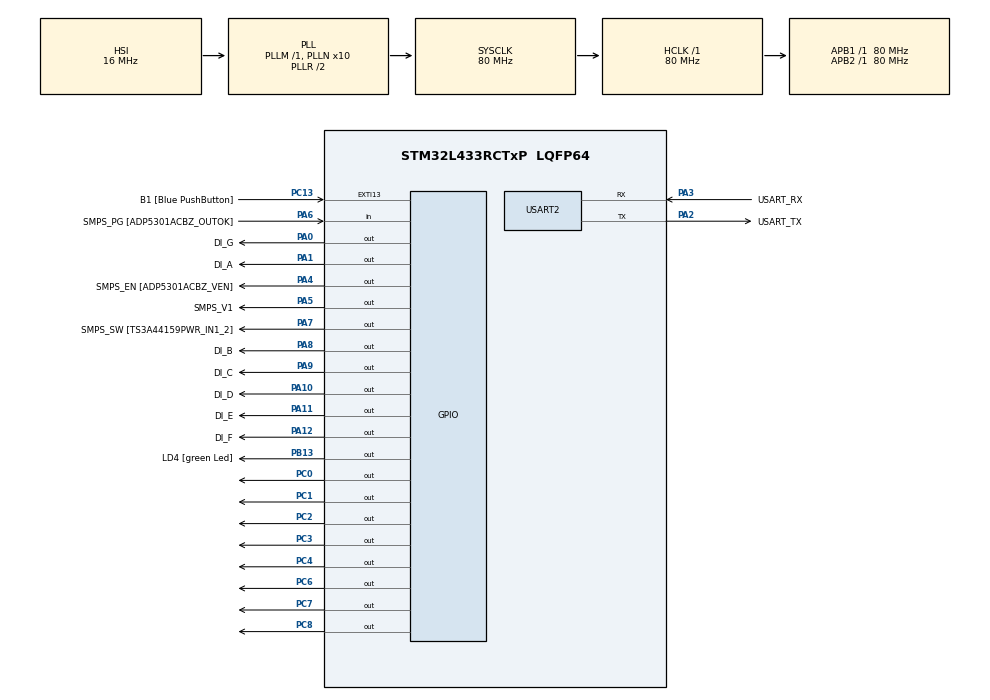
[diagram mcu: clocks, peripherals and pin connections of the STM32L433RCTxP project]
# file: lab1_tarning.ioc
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Mcu.Family=STM32L4
Mcu.Name=STM32L433RCTxP
Mcu.Package=LQFP64
NVIC.PriorityGroup=NVIC_PRIORITYGROUP_4
PA0.GPIO_Label=DI_G
PA0.Signal=GPIO_Output
PA1.GPIO_Label=DI_A
PA1.Signal=GPIO_Output
PA10.GPIO_Label=DI_D
PA10.Signal=GPIO_Output
PA11.GPIO_Label=DI_E
PA11.Signal=GPIO_Output
PA12.GPIO_Label=DI_F
PA12.Signal=GPIO_Output
PA13\ (JTMS-SWDIO).GPIO_Label=TMS
PA13\ (JTMS-SWDIO).Mode=Serial_Wire
PA13\ (JTMS-SWDIO).Signal=SYS_JTMS-SWDIO
PA14\ (JTCK-SWCLK).GPIO_Label=TCK
PA14\ (JTCK-SWCLK).Mode=Serial_Wire
PA14\ (JTCK-SWCLK).Signal=SYS_JTCK-SWCLK
PA2.GPIO_Label=USART_TX
PA2.GPIO_Mode=GPIO_MODE_AF_PP
PA2.GPIO_PuPd=GPIO_NOPULL
PA2.GPIO_Speed=GPIO_SPEED_FREQ_VERY_HIGH
PA2.Mode=Asynchronous
PA2.Signal=USART2_TX
PA3.GPIO_Label=USART_RX
PA3.GPIO_Mode=GPIO_MODE_AF_PP
PA3.GPIO_PuPd=GPIO_NOPULL
PA3.GPIO_Speed=GPIO_SPEED_FREQ_VERY_HIGH
PA3.Mode=Asynchronous
PA3.Signal=USART2_RX
PA4.GPIO_Label=SMPS_EN [ADP5301ACBZ_VEN]
PA4.Signal=GPIO_Output
PA5.GPIO_Label=SMPS_V1
PA5.GPIO_ModeDefaultOutputPP=GPIO_MODE_OUTPUT_PP
PA5.GPIO_PuPd=GPIO_NOPULL
PA5.GPIO_Speed=GPIO_SPEED_FREQ_LOW
PA5.Signal=GPIO_Output
PA6.GPIO_Label=SMPS_PG [ADP5301ACBZ_OUTOK]
PA6.GPIO_PuPd=GPIO_PULLUP
PA6.Signal=GPIO_Input
PA7.GPIO_Label=SMPS_SW [TS3A44159PWR_IN1_2]
PA7.Signal=GPIO_Output
PA8.GPIO_Label=DI_B
PA8.Signal=GPIO_Output
PA9.GPIO_Label=DI_C
PA9.Signal=GPIO_Output
PB13.GPIO_Label=LD4 [green Led]
PB13.Signal=GPIO_Output
PB3\ (JTDO-TRACESWO).GPIO_Label=SWO
PB3\ (JTDO-TRACESWO).Signal=SYS_JTDO-SWO
PC0.Signal=GPIO_Output
PC1.Signal=GPIO_Output
PC13.GPIO_Label=B1 [Blue PushButton]
PC13.GPIO_ModeDefaultEXTI=GPIO_MODE_IT_FALLING
PC13.GPIO_PuPd=GPIO_NOPULL
PC13.Signal=GPXTI13
PC14-OSC32_IN\ (PC14).Mode=LSE-External-Oscillator
PC14-OSC32_IN\ (PC14).Signal=RCC_OSC32_IN
PC15-OSC32_OUT\ (PC15).Mode=LSE-External-Oscillator
PC15-OSC32_OUT\ (PC15).Signal=RCC_OSC32_OUT
PC2.Signal=GPIO_Output
PC3.Signal=GPIO_Output
PC4.Signal=GPIO_Output
PC6.Signal=GPIO_Output
PC7.Signal=GPIO_Output
PC8.Signal=GPIO_Output
PC9.Signal=EVENTOUT
PH0-OSC_IN\ (PH0).GPIO_Label=MCO
PH0-OSC_IN\ (PH0).Mode=HSE-External-Clock-Source
PH0-OSC_IN\ (PH0).Signal=RCC_OSC_IN
PH1-OSC_OUT\ (PH1).Signal=RCC_OSC_OUT
ProjectManager.HeapSize=0x200
ProjectManager.StackSize=0x400
ProjectManager.TargetToolchain=STM32CubeIDE
RCC.ADCFreq_Value=64000000
RCC.AHBFreq_Value=80000000
RCC.APB1Freq_Value=80000000
RCC.APB1TimFreq_Value=80000000
RCC.APB2Freq_Value=80000000
RCC.APB2TimFreq_Value=80000000
RCC.CortexFreq_Value=80000000
RCC.HCLKFreq_Value=80000000
RCC.HSE_VALUE=8000000
RCC.HSI48_VALUE=48000000
RCC.HSI_VALUE=16000000
RCC.MSI_VALUE=4000000
RCC.PLLN=10
RCC.PLLSourceVirtual=RCC_PLLSOURCE_HSI
RCC.PREFETCH_ENABLE=1
RCC.SYSCLKFreq_VALUE=80000000
RCC.SYSCLKSource=RCC_SYSCLKSOURCE_PLLCLK
RCC.USBFreq_Value=64000000
RCC.VCOOutputFreq_Value=160000000
USART2.VirtualMode-Asynchronous=VM_ASYNC
board=NUCLEO-L433RC-P

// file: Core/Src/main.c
/* USER CODE BEGIN Header */
/**
  ******************************************************************************
  * @file           : main.c
  * @brief          : Main program body
  ******************************************************************************
  * @attention
  *
  * Copyright (c) 2025 STMicroelectronics.
  * All rights reserved.
  *
  * This software is licensed under terms that can be found in the LICENSE file
  * in the root directory of this software component.
  * If no LICENSE file comes with this software, it is provided AS-IS.
  *
  ******************************************************************************
  */
/* USER CODE END Header */
#include "main.h"

UART_HandleTypeDef huart2;

/* USER CODE BEGIN PV */
int pressed = 0;
const uint16_t sseg[10] = {0x0, 0x6, 0x9B, 0x8F, 0xC6, 0xCD, 0xDD, 0x7, 0xDF, 0xC7};
const uint16_t sseg_err =0x1AC;

/* USER CODE END PV */

void SystemClock_Config(void);
static void MX_GPIO_Init(void);
static void MX_USART2_UART_Init(void);
/* USER CODE BEGIN PFP */
int is_blue_button_pressed();
void put_die_dots(uint8_t die_nbr);
void put_on_sseg(uint16_t dec_nbr);
void write(uint16_t pin, int set);
//void dot_state

/* USER CODE END PFP */

/* USER CODE BEGIN 0 */

// returns 1 if blue putton is pressed
// returns 0 if blue buttom is not pressed
int is_blue_button_pressed()
{
	return(GPIOC->IDR & B1_Pin) > 0  ? 1 : 0;
}

void put_die_dots(uint8_t die_nbr)
{
	HAL_GPIO_WritePin(GPIOA, DI_A_Pin, GPIO_PIN_RESET);
	HAL_GPIO_WritePin(GPIOA, DI_B_Pin, GPIO_PIN_RESET);
	HAL_GPIO_WritePin(GPIOA, DI_C_Pin, GPIO_PIN_RESET);
	HAL_GPIO_WritePin(GPIOA, DI_D_Pin, GPIO_PIN_RESET);
	HAL_GPIO_WritePin(GPIOA, DI_E_Pin, GPIO_PIN_RESET);
	HAL_GPIO_WritePin(GPIOA, DI_F_Pin, GPIO_PIN_RESET);
	HAL_GPIO_WritePin(GPIOA, DI_G_Pin, GPIO_PIN_RESET);

	switch(die_nbr)
	{
		case 1:
			HAL_GPIO_WritePin(GPIOA, DI_D_Pin, GPIO_PIN_SET);
			break;

		case 2:
			HAL_GPIO_WritePin(GPIOA, DI_B_Pin, GPIO_PIN_SET);
			HAL_GPIO_WritePin(GPIOA, DI_F_Pin, GPIO_PIN_SET);
			break;

		case 3:
			HAL_GPIO_WritePin(GPIOA, DI_A_Pin, GPIO_PIN_SET);
			HAL_GPIO_WritePin(GPIOA, DI_D_Pin, GPIO_PIN_SET);
			HAL_GPIO_WritePin(GPIOA, DI_G_Pin, GPIO_PIN_SET);
			break;

		case 4:
			HAL_GPIO_WritePin(GPIOA, DI_A_Pin, GPIO_PIN_SET);
			HAL_GPIO_WritePin(GPIOA, DI_C_Pin, GPIO_PIN_SET);
			HAL_GPIO_WritePin(GPIOA, DI_E_Pin, GPIO_PIN_SET);
			HAL_GPIO_WritePin(GPIOA, DI_G_Pin, GPIO_PIN_SET);
			break;

		case 5:
			HAL_GPIO_WritePin(GPIOA, DI_A_Pin, GPIO_PIN_SET);
			HAL_GPIO_WritePin(GPIOA, DI_C_Pin, GPIO_PIN_SET);
			HAL_GPIO_WritePin(GPIOA, DI_D_Pin, GPIO_PIN_SET);
			HAL_GPIO_WritePin(GPIOA, DI_E_Pin, GPIO_PIN_SET);
			HAL_GPIO_WritePin(GPIOA, DI_G_Pin, GPIO_PIN_SET);
			break;

		case 6:
			HAL_GPIO_WritePin(GPIOA, DI_A_Pin, GPIO_PIN_SET);
			HAL_GPIO_WritePin(GPIOA, DI_B_Pin, GPIO_PIN_SET);
			HAL_GPIO_WritePin(GPIOA, DI_C_Pin, GPIO_PIN_SET);
			HAL_GPIO_WritePin(GPIOA, DI_E_Pin, GPIO_PIN_SET);
			HAL_GPIO_WritePin(GPIOA, DI_F_Pin, GPIO_PIN_SET);
			HAL_GPIO_WritePin(GPIOA, DI_G_Pin, GPIO_PIN_SET);
			break;

		default:
			return;
			break;
	}
}

void put_on_sseg(uint16_t dec_nbr)
{
	uint16_t chosen = sseg[dec_nbr];
	uint16_t all	= 0xFFFF;
	write(all, 0);
	write(chosen, 1);

}
void write(uint16_t pin, int set)
{
	if(set)
	{
		GPIOC -> ODR |= pin;
	}
	else
	{
		GPIOC -> ODR &= ~pin;
	}
}

/* USER CODE END 0 */

int main(void)
{

  /* MCU Configuration--------------------------------------------------------*/

  /* Reset of all peripherals, Initializes the Flash interface and the Systick. */
  HAL_Init();

  /* Configure the system clock */
  SystemClock_Config();

  /* Initialize all configured peripherals */
  MX_GPIO_Init();
  MX_USART2_UART_Init();

  /* Infinite loop */
  /* USER CODE BEGIN WHILE */

  uint8_t die_value = 0;
  while (1)
  {

	  //pressed = HAL_GPIO_ReadPin(B1_GPIO_Port, B1_Pin);

	  //uint32_t reg_reading = GPIOB->IDR;

	  HAL_Delay(1);

	  if (is_blue_button_pressed())
	  {
		  HAL_GPIO_WritePin(GPIOB, LD4_Pin, GPIO_PIN_SET);
		  die_value = ((die_value) % 6) + 1;
	  }
	  else
	  {
		  HAL_GPIO_WritePin(GPIOB, LD4_Pin, GPIO_PIN_RESET);
		  put_die_dots(die_value);
		  put_on_sseg(die_value);
	  }
    /* USER CODE END WHILE */

  }
}

void SystemClock_Config(void)
{
  RCC_OscInitTypeDef RCC_OscInitStruct = {0};
  RCC_ClkInitTypeDef RCC_ClkInitStruct = {0};

  /** Configure the main internal regulator output voltage
  */
  if (HAL_PWREx_ControlVoltageScaling(PWR_REGULATOR_VOLTAGE_SCALE1) != HAL_OK)
  {
    Error_Handler();
  }

  /** Initializes the RCC Oscillators according to the specified parameters
  * in the RCC_OscInitTypeDef structure.
  */
  RCC_OscInitStruct.OscillatorType = RCC_OSCILLATORTYPE_HSI;
  RCC_OscInitStruct.HSIState = RCC_HSI_ON;
  RCC_OscInitStruct.HSICalibrationValue = RCC_HSICALIBRATION_DEFAULT;
  RCC_OscInitStruct.PLL.PLLState = RCC_PLL_ON;
  RCC_OscInitStruct.PLL.PLLSource = RCC_PLLSOURCE_HSI;
  RCC_OscInitStruct.PLL.PLLM = 1;
  RCC_OscInitStruct.PLL.PLLN = 10;
  RCC_OscInitStruct.PLL.PLLP = RCC_PLLP_DIV7;
  RCC_OscInitStruct.PLL.PLLQ = RCC_PLLQ_DIV2;
  RCC_OscInitStruct.PLL.PLLR = RCC_PLLR_DIV2;
  if (HAL_RCC_OscConfig(&RCC_OscInitStruct) != HAL_OK)
  {
    Error_Handler();
  }

  /** Initializes the CPU, AHB and APB buses clocks
  */
  RCC_ClkInitStruct.ClockType = RCC_CLOCKTYPE_HCLK|RCC_CLOCKTYPE_SYSCLK
                              |RCC_CLOCKTYPE_PCLK1|RCC_CLOCKTYPE_PCLK2;
  RCC_ClkInitStruct.SYSCLKSource = RCC_SYSCLKSOURCE_PLLCLK;
  RCC_ClkInitStruct.AHBCLKDivider = RCC_SYSCLK_DIV1;
  RCC_ClkInitStruct.APB1CLKDivider = RCC_HCLK_DIV1;
  RCC_ClkInitStruct.APB2CLKDivider = RCC_HCLK_DIV1;

  if (HAL_RCC_ClockConfig(&RCC_ClkInitStruct, FLASH_LATENCY_4) != HAL_OK)
  {
    Error_Handler();
  }
}

static void MX_USART2_UART_Init(void)
{

  huart2.Instance = USART2;
  huart2.Init.BaudRate = 115200;
  huart2.Init.WordLength = UART_WORDLENGTH_8B;
  huart2.Init.StopBits = UART_STOPBITS_1;
  huart2.Init.Parity = UART_PARITY_NONE;
  huart2.Init.Mode = UART_MODE_TX_RX;
  huart2.Init.HwFlowCtl = UART_HWCONTROL_NONE;
  huart2.Init.OverSampling = UART_OVERSAMPLING_16;
  huart2.Init.OneBitSampling = UART_ONE_BIT_SAMPLE_DISABLE;
  huart2.AdvancedInit.AdvFeatureInit = UART_ADVFEATURE_NO_INIT;
  if (HAL_UART_Init(&huart2) != HAL_OK)
  {
    Error_Handler();
  }

}

static void MX_GPIO_Init(void)
{
  GPIO_InitTypeDef GPIO_InitStruct = {0};

  /* GPIO Ports Clock Enable */
  __HAL_RCC_GPIOC_CLK_ENABLE();
  __HAL_RCC_GPIOH_CLK_ENABLE();
  __HAL_RCC_GPIOA_CLK_ENABLE();
  __HAL_RCC_GPIOB_CLK_ENABLE();

  /*Configure GPIO pin Output Level */
  HAL_GPIO_WritePin(GPIOC, GPIO_PIN_0|GPIO_PIN_1|GPIO_PIN_2|GPIO_PIN_3
                          |GPIO_PIN_4|GPIO_PIN_6|GPIO_PIN_7|GPIO_PIN_8, GPIO_PIN_RESET);

  /*Configure GPIO pin Output Level */
  HAL_GPIO_WritePin(GPIOA, DI_G_Pin|DI_A_Pin|SMPS_EN_Pin|SMPS_V1_Pin
                          |SMPS_SW_Pin|DI_B_Pin|DI_C_Pin|DI_D_Pin
                          |DI_E_Pin|DI_F_Pin, GPIO_PIN_RESET);

  /*Configure GPIO pin Output Level */
  HAL_GPIO_WritePin(LD4_GPIO_Port, LD4_Pin, GPIO_PIN_RESET);

  /*Configure GPIO pin : B1_Pin */
  GPIO_InitStruct.Pin = B1_Pin;
  GPIO_InitStruct.Mode = GPIO_MODE_IT_FALLING;
  GPIO_InitStruct.Pull = GPIO_NOPULL;
  HAL_GPIO_Init(B1_GPIO_Port, &GPIO_InitStruct);

  /*Configure GPIO pins : PC0 PC1 PC2 PC3
                           PC4 PC6 PC7 PC8 */
  GPIO_InitStruct.Pin = GPIO_PIN_0|GPIO_PIN_1|GPIO_PIN_2|GPIO_PIN_3
                          |GPIO_PIN_4|GPIO_PIN_6|GPIO_PIN_7|GPIO_PIN_8;
  GPIO_InitStruct.Mode = GPIO_MODE_OUTPUT_PP;
  GPIO_InitStruct.Pull = GPIO_NOPULL;
  GPIO_InitStruct.Speed = GPIO_SPEED_FREQ_LOW;
  HAL_GPIO_Init(GPIOC, &GPIO_InitStruct);

  /*Configure GPIO pins : DI_G_Pin DI_A_Pin SMPS_EN_Pin SMPS_V1_Pin
                           SMPS_SW_Pin DI_B_Pin DI_C_Pin DI_D_Pin
                           DI_E_Pin DI_F_Pin */
  GPIO_InitStruct.Pin = DI_G_Pin|DI_A_Pin|SMPS_EN_Pin|SMPS_V1_Pin
                          |SMPS_SW_Pin|DI_B_Pin|DI_C_Pin|DI_D_Pin
                          |DI_E_Pin|DI_F_Pin;
  GPIO_InitStruct.Mode = GPIO_MODE_OUTPUT_PP;
  GPIO_InitStruct.Pull = GPIO_NOPULL;
  GPIO_InitStruct.Speed = GPIO_SPEED_FREQ_LOW;
  HAL_GPIO_Init(GPIOA, &GPIO_InitStruct);

  /*Configure GPIO pin : SMPS_PG_Pin */
  GPIO_InitStruct.Pin = SMPS_PG_Pin;
  GPIO_InitStruct.Mode = GPIO_MODE_INPUT;
  GPIO_InitStruct.Pull = GPIO_PULLUP;
  HAL_GPIO_Init(SMPS_PG_GPIO_Port, &GPIO_InitStruct);

  /*Configure GPIO pin : LD4_Pin */
  GPIO_InitStruct.Pin = LD4_Pin;
  GPIO_InitStruct.Mode = GPIO_MODE_OUTPUT_PP;
  GPIO_InitStruct.Pull = GPIO_NOPULL;
  GPIO_InitStruct.Speed = GPIO_SPEED_FREQ_LOW;
  HAL_GPIO_Init(LD4_GPIO_Port, &GPIO_InitStruct);

  /*Configure GPIO pin : PC9 */
  GPIO_InitStruct.Pin = GPIO_PIN_9;
  GPIO_InitStruct.Mode = GPIO_MODE_AF_PP;
  GPIO_InitStruct.Pull = GPIO_NOPULL;
  GPIO_InitStruct.Speed = GPIO_SPEED_FREQ_LOW;
  GPIO_InitStruct.Alternate = GPIO_AF15_EVENTOUT;
  HAL_GPIO_Init(GPIOC, &GPIO_InitStruct);

}

void Error_Handler(void)
{
  __disable_irq();
  while (1)
  {
  }
}
